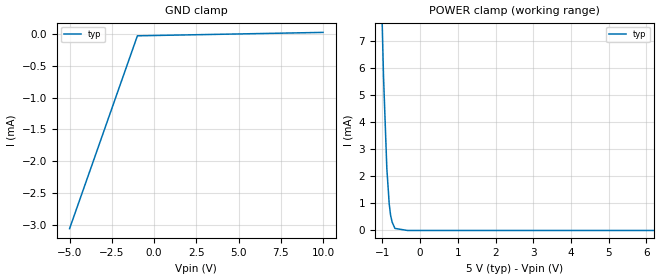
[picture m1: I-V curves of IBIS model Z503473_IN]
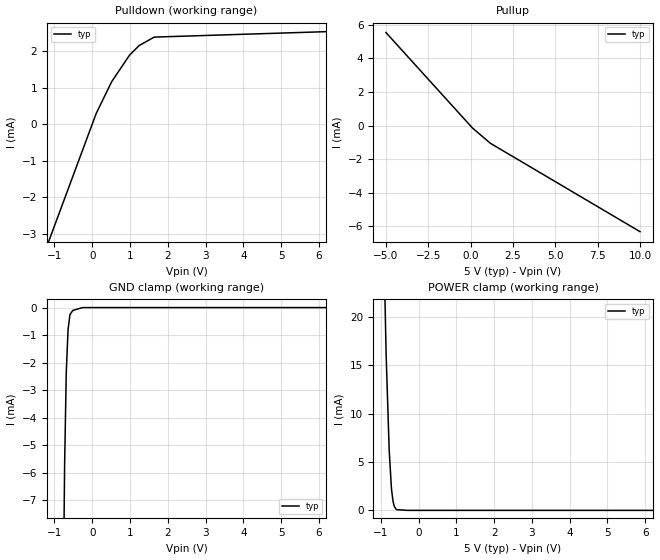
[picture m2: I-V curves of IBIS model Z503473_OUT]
| YOU ARE ONLY AUTHORIZED TO USE THIS SOFTWARE
| ACCORDING TO LICENSOR'S LICENSE RESTRICTIONS.
[IBIS Ver] 3.1
[File Name] mc14012ubcl.ibs
[File Rev] 2.0
[Source] Measured and created by ICX Technology
[Date] Friday 7/14/00 9:07:51 AM
[Copyright]
| (C) COPYRIGHT 1993-2000
| MENTOR GRAPHICS CORPORATION
| ICX STANDARD LIBRARY, ICX PROJECT MODELING,
| ICX CUSTOM MODELING, ICX VENDOR MODEL
| ALL RIGHTS RESERVED.
| THE FOLLOWING ARE TRADEMARKS OR SERVICE MARKS OF
| MENTOR GRAPHICS CORPORATION:ICX (R), ICX STANDARD
| LIBRARY(R), ICX PROJECT MODELING(R), ICX CUSTOM
| MODELING(R), qualityIBIS(TM), MODELVIEWER(TM),
| AND MODELEDITOR(TM)
| ALL COPIES OF SOFTWARE, INCLUDING BUT NOT LIMITED TO
| ANY MODIFICATIONS, ENHANCEMENTS OR DERIVATIVE WORKS,
| MUST CONTAIN ALL MENTOR GRAPHICS CORPORATION'S
| NOTICES AND LEGENDS, INCLUDING THOSE EMBEDDED IN
| SOFTWARE AND THOSE AFFIXED TO SOFTWARE MEDIUM
| AND CONTAINER, AS RECEIVED FROM MENTOR GRAPHICS
| CORPORATION.
|  ZAP Model Builder 2.7
[Component] MC14012UBCL
[Manufacturer] OnSemiconductor
[Package]
| variable   typ   min   max
R_pkg  .21ohms NA NA
L_pkg  4.543nH NA NA
C_pkg  1.8pF NA NA
[Pin] signal_name  model_name  R_pin  L_pin C_pin
1 OUTA Z503473_OUT .22 6.757n 2.434p
2 IN1A Z503473_IN .212 4.757n 1.941p
3 IN2A Z503473_IN .204 3.257n 1.448p
4 IN3A Z503473_IN .196 2.257n .955p
5 IN4A Z503473_IN .204 3.257n 1.448p
6 NC NC .212 4.757n 1.941p
7 VSS GND .22 6.757n 2.434p
8 NC NC .22 6.757n 2.434p
9 IN1B Z503473_IN .212 4.757n 1.941p
10 IN2B Z503473_IN .204 3.257n 1.448p
11 IN3B Z503473_IN .196 2.257n .955p
12 IN4B Z503473_IN .204 3.257n 1.448p
13 OUTB Z503473_OUT .212 4.757n 1.941p
14 VDD POWER .22 6.757n 2.434p
| Models and submodels in the file (2): Z503473_IN (Input), Z503473_OUT (Output)
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| (C) COPYRIGHT 1993-2000
| MENTOR GRAPHICS CORPORATION
| ICX STANDARD LIBRARY, ICX PROJECT MODELING,
| ICX CUSTOM MODELING, ICX VENDOR MODEL
| ALL RIGHTS RESERVED.
| THE FOLLOWING ARE TRADEMARKS OR SERVICE MARKS OF
| MENTOR GRAPHICS CORPORATION:ICX (R), ICX STANDARD
| LIBRARY(R), ICX PROJECT MODELING(R), ICX CUSTOM
| MODELING(R), qualityIBIS(TM), MODELVIEWER(TM),
| AND MODELEDITOR(TM)
| ALL COPIES OF SOFTWARE, INCLUDING BUT NOT LIMITED TO
| ANY MODIFICATIONS, ENHANCEMENTS OR DERIVATIVE WORKS,
| MUST CONTAIN ALL MENTOR GRAPHICS CORPORATION'S
| NOTICES AND LEGENDS, INCLUDING THOSE EMBEDDED IN
| SOFTWARE AND THOSE AFFIXED TO SOFTWARE MEDIUM
| AND CONTAINER, AS RECEIVED FROM MENTOR GRAPHICS
| CORPORATION.
| Model Application Version 1.89 2/18/99.
[Model] Z503473_IN
Model_type Input
Vinl = 1.500V
Vinh = 3.500V
C_comp 4.000pF NA NA
| variable typ   min   max
[Voltage Range] 5.000V NA NA
[GND Clamp Reference] 0.000V NA NA
[POWER Clamp Reference] 5.000V NA NA
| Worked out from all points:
|   POWER clamp passes 1 mA (typ) near -0.82 V on its own axis
[GND Clamp]
-5V       -3.065mA   NA         NA
-986.5mV  -27.32uA   NA         NA
10V       26.41uA    NA         NA
[POWER Clamp]
-5V       390.6mA    NA         NA
-1.206V   22.1mA     NA         NA
-1.035V   9.22mA     NA         NA
-972mV    5.694mA    NA         NA
-884mV    2.293mA    NA         NA
-820mV    971.6uA    NA         NA
-785mV    569.3uA    NA         NA
-743mV    308.3uA    NA         NA
-669mV    76.56uA    NA         NA
-334.5mV  0A         NA         NA
10V       0A         NA         NA
| (C) COPYRIGHT 1993-2000
| MENTOR GRAPHICS CORPORATION
| ICX STANDARD LIBRARY, ICX PROJECT MODELING,
| ICX CUSTOM MODELING, ICX VENDOR MODEL
| ALL RIGHTS RESERVED.
| THE FOLLOWING ARE TRADEMARKS OR SERVICE MARKS OF
| MENTOR GRAPHICS CORPORATION:ICX (R), ICX STANDARD
| LIBRARY(R), ICX PROJECT MODELING(R), ICX CUSTOM
| MODELING(R), qualityIBIS(TM), MODELVIEWER(TM),
| AND MODELEDITOR(TM)
| ALL COPIES OF SOFTWARE, INCLUDING BUT NOT LIMITED TO
| ANY MODIFICATIONS, ENHANCEMENTS OR DERIVATIVE WORKS,
| MUST CONTAIN ALL MENTOR GRAPHICS CORPORATION'S
| NOTICES AND LEGENDS, INCLUDING THOSE EMBEDDED IN
| SOFTWARE AND THOSE AFFIXED TO SOFTWARE MEDIUM
| AND CONTAINER, AS RECEIVED FROM MENTOR GRAPHICS
| CORPORATION.
| Model Application Version 1.89 2/18/99.
[Model] Z503473_OUT
Model_type Output
Vref=0.000V
Rref=500.0Mohms
Cref=50.00pF
Vmeas=2.500V
C_comp 8.000pF NA NA
| variable typ   min   max
[Voltage Range] 5.000V NA NA
[POWER Clamp Reference] 5.000V NA NA
[Pullup Reference] 5.000V NA NA
[Pulldown Reference] 0.000V NA NA
[GND Clamp Reference] 0.000V NA NA
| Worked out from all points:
|   slope of the pulldown table from 0 to 0.75 V, typ, clamps not added: 492 ohm
|   slope of the pullup table from 0 to 0.75 V, typ, clamps not added: 1.12 kohm
|   GND clamp passes 1 mA (typ) near -0.65 V on its own axis
|   POWER clamp passes 1 mA (typ) near -0.68 V on its own axis
[GND Clamp]
-5V       -591.8mA   NA         NA
-730.4mV  -5.669mA   NA         NA
-687.1mV  -2.355mA   NA         NA
-639.7mV  -798uA     NA         NA
-589.8mV  -257.1uA   NA         NA
-514.9mV  -105uA     NA         NA
-257.5mV  0A         NA         NA
10V       0A         NA         NA
[Pulldown]
-5V       -13.95mA   NA         NA
103.4mV   285.1uA    NA         NA
513.6mV   1.158mA    NA         NA
987.9mV   1.888mA    NA         NA
1.244V    2.152mA    NA         NA
1.641V    2.383mA    NA         NA
10V       2.657mA    NA         NA
[Pullup]
-5V       5.538mA    NA         NA
107mV     -141.1uA   NA         NA
1.172V    -1.055mA   NA         NA
10V       -6.308mA   NA         NA
[POWER Clamp]
-5V       788.4mA    NA         NA
-859mV    16.11mA    NA         NA
-778mV    6.224mA    NA         NA
-718mV    2.238mA    NA         NA
-674mV    877.6uA    NA         NA
-640mV    388.4uA    NA         NA
-586mV    75.74uA    NA         NA
-293mV    0A         NA         NA
10V       0A         NA         NA
[Ramp]
| variable typ min max
dV/dt_r 2.009/35.99n NA NA
dV/dt_f 2.009/12.17n NA NA
R_load = 2.500kOhms
